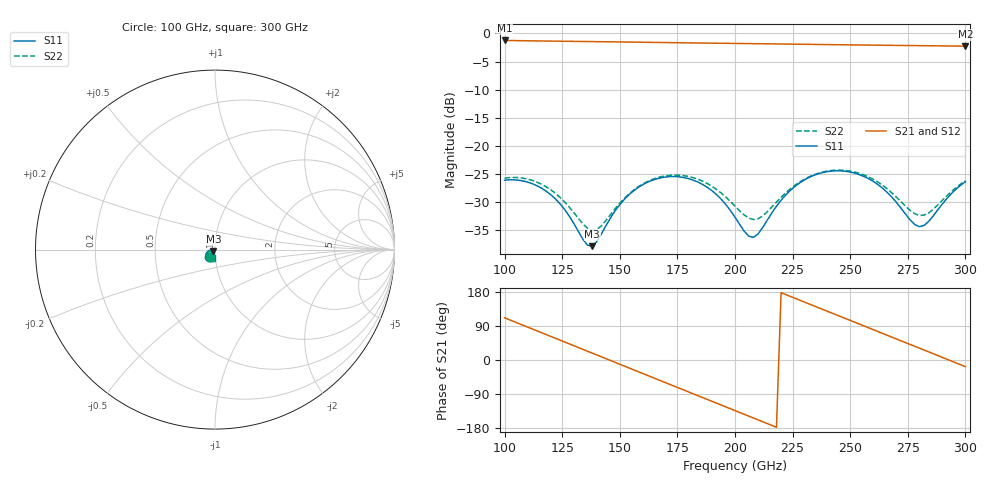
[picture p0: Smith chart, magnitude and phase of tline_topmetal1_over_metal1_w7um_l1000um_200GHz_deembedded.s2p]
! Created with skrf 2.2.0 (http://scikit-rf.org).
# GHz S DB R 50.0
! Port[1] = P1
! Port[2] = P2
!freq dBS11 angS11 dBS21 angS21 dBS12 angS12 dBS22 angS22
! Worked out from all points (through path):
!   101 points, 100 GHz to 300 GHz, reference 50 ohm
!   highest |S21| = -1.25 dB at 100 GHz (marker M1); lowest = -2.3 dB at 300 GHz (marker M2)
!   group delay of S21, straight-line fit = 6.79 ps
!   lowest |S11| = -37.9 dB at 138 GHz (marker M3), VSWR 1.03, Z = 49.2 - j0.949 ohm
!   |S11| at or under -10 dB: start of sweep to end of sweep
!   |S22| runs from -35.1 to -24.3 dB; largest |S21 - S12| = 9.9e-14
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100  -26.12 -128.4  -1.25 111.4  -1.25 111.4  -25.75 -125.4
108  -26.25 -144.9  -1.29 91.7  -1.29 91.7  -25.76 -141.0
116  -27.53 -160.2  -1.34 72.1  -1.34 72.1  -26.82 -155.1
126  -31.30 -172.6  -1.39 47.6  -1.39 47.6  -29.96 -165.8
134  -36.64 -158.9  -1.43 28.0  -1.43 28.0  -33.90 -156.2
138  -37.85 -131.0  -1.45 18.2  -1.45 18.2  -35.06 -138.6
152  -29.51 -101.4  -1.52 -16.1  -1.52 -16.1  -29.34 -106.9
168  -25.67 -127.0  -1.61 -55.3  -1.61 -55.3  -25.49 -126.9
176  -25.53 -141.9  -1.66 -74.9  -1.66 -74.9  -25.23 -140.0
184  -26.46 -156.0  -1.70 -94.4  -1.70 -94.4  -25.95 -152.3
192  -28.68 -166.9  -1.74 -113.9  -1.74 -113.9  -27.76 -161.1
200  -32.69 -167.3  -1.78 -133.5  -1.78 -133.5  -30.72 -160.5
208  -36.28 -131.3  -1.81 -153.0  -1.81 -153.0  -33.12 -138.0
220  -29.68 -99.3  -1.87 177.6  -1.87 177.6  -29.16 -109.9
234  -25.29 -116.7  -1.95 143.4  -1.95 143.4  -25.19 -121.3
244  -24.44 -134.1  -2.00 119.0  -2.00 119.0  -24.32 -136.3
252  -24.86 -147.9  -2.04 99.6  -2.04 99.6  -24.66 -148.4
260  -26.32 -159.9  -2.08 80.1  -2.08 80.1  -25.95 -158.8
268  -29.10 -166.5  -2.12 60.6  -2.12 60.6  -28.34 -163.7
280  -34.38 -136.8  -2.17 31.3  -2.17 31.3  -32.38 -140.5
290  -30.34 -103.7  -2.22 6.9  -2.22 6.9  -29.68 -112.5
300  -26.39 -108.4  -2.27 -17.5  -2.27 -17.5  -26.22 -114.0
